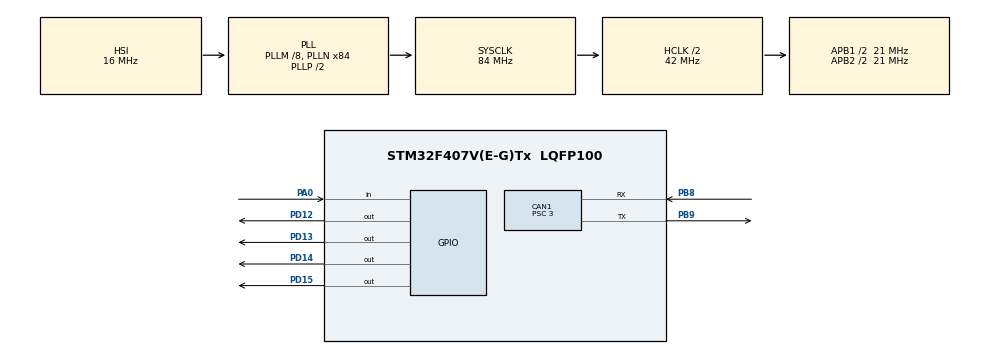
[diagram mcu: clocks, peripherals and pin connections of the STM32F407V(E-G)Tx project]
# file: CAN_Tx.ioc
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CAN1.ABOM=ENABLE
CAN1.AWUM=ENABLE
CAN1.BS1=CAN_BS1_11TQ
CAN1.BS2=CAN_BS2_2TQ
CAN1.CalculateBaudRate=500000
CAN1.CalculateTimeBit=2000
CAN1.CalculateTimeQuantum=142.85714285714286
CAN1.NART=ENABLE
CAN1.Prescaler=3
CAN1.TXFP=ENABLE
Mcu.Family=STM32F4
Mcu.Name=STM32F407V(E-G)Tx
Mcu.Package=LQFP100
NVIC.CAN1_RX0_IRQn=true\:0\:0\:false\:false\:true\:true\:true\:true
NVIC.CAN1_TX_IRQn=true\:0\:0\:false\:false\:true\:true\:true\:true
NVIC.PriorityGroup=NVIC_PRIORITYGROUP_0
PA0-WKUP.Signal=GPIO_Input
PB8.Mode=CAN_Activate
PB8.Signal=CAN1_RX
PB9.Mode=CAN_Activate
PB9.Signal=CAN1_TX
PD12.Signal=GPIO_Output
PD13.Signal=GPIO_Output
PD14.Signal=GPIO_Output
PD15.Signal=GPIO_Output
PH0-OSC_IN.Mode=HSE-External-Oscillator
PH0-OSC_IN.Signal=RCC_OSC_IN
PH1-OSC_OUT.Mode=HSE-External-Oscillator
PH1-OSC_OUT.Signal=RCC_OSC_OUT
ProjectManager.HeapSize=0x200
ProjectManager.StackSize=0x400
ProjectManager.TargetToolchain=STM32CubeIDE
RCC.48MHZClocksFreq_Value=24000000
RCC.AHBCLKDivider=RCC_SYSCLK_DIV2
RCC.AHBFreq_Value=42000000
RCC.APB1CLKDivider=RCC_HCLK_DIV2
RCC.APB1Freq_Value=21000000
RCC.APB1TimFreq_Value=42000000
RCC.APB2CLKDivider=RCC_HCLK_DIV2
RCC.APB2Freq_Value=21000000
RCC.APB2TimFreq_Value=42000000
RCC.CortexFreq_Value=42000000
RCC.HCLKFreq_Value=42000000
RCC.HSE_VALUE=8000000
RCC.HSI_VALUE=16000000
RCC.LSE_VALUE=32768
RCC.PLLM=8
RCC.PLLN=84
RCC.PLLQ=7
RCC.SYSCLKFreq_VALUE=84000000
RCC.SYSCLKSource=RCC_SYSCLKSOURCE_PLLCLK
RCC.VCOOutputFreq_Value=168000000
board=STM32F407G-DISC1

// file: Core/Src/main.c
/* USER CODE BEGIN Header */
/**
  ******************************************************************************
  * @file           : main.c
  * @brief          : Main program body
  ******************************************************************************
  * @attention
  *
  * Copyright (c) 2025 STMicroelectronics.
  * All rights reserved.
  *
  * This software is licensed under terms that can be found in the LICENSE file
  * in the root directory of this software component.
  * If no LICENSE file comes with this software, it is provided AS-IS.
  *
  ******************************************************************************
  */
/* USER CODE END Header */
#include "main.h"

/* USER CODE BEGIN Includes */
#include<string.h>
/* USER CODE END Includes */

CAN_HandleTypeDef hcan1;

/* USER CODE BEGIN PV */
CAN_TxHeaderTypeDef TxHeader;
uint8_t TxData[8];
uint32_t TxMailBox;

/* USER CODE END PV */

void SystemClock_Config(void);
static void MX_GPIO_Init(void);
static void MX_CAN1_Init(void);

int main(void)
{

  /* MCU Configuration--------------------------------------------------------*/

  /* Reset of all peripherals, Initializes the Flash interface and the Systick. */
  HAL_Init();

  /* Configure the system clock */
  SystemClock_Config();

  /* Initialize all configured peripherals */
  MX_GPIO_Init();
  MX_CAN1_Init();
  /* USER CODE BEGIN 2 */
  HAL_CAN_Start(&hcan1);
  //  HAL_CAN_ActivateNotification(&hcan1, CAN_IT_RX_FIFO0_MSG_PENDING);

  TxHeader.StdId = 0x0A9;
  TxHeader.ExtId = 0;
  TxHeader.IDE = CAN_ID_STD;
  TxHeader.RTR = CAN_RTR_DATA;
  //TxHeader.DLC = 4;
  TxHeader.TransmitGlobalTime = DISABLE;

 // strcpy((char *) TxData, "DATA");

  /* USER CODE END 2 */

  /* Infinite loop */
  while (1)
  {

    /* USER CODE BEGIN 3 */
	  /* USER CODE BEGIN 3 */

	    // Check the switch on PA0
	    // NOTE: This assumes your switch connects PA0 to 3.3V (HIGH)
	    uint16_t switch_read = HAL_GPIO_ReadPin(GPIOA, GPIO_PIN_0);

	    if(switch_read == GPIO_PIN_SET)
	    {
	      // Configure the CAN message
	      TxHeader.DLC = 1; // Change DLC to 1
	      TxHeader.RTR = CAN_RTR_DATA;
	      TxHeader.IDE = CAN_ID_STD;
	      TxHeader.StdId = 0x0A9;
	      TxData[0] = 1; // We will send the number '1'

	      // Toggle the LED (your first code used PD12, so we use that)
	      HAL_GPIO_TogglePin(GPIOD, GPIO_PIN_12);

	      // Send the message
	      if(HAL_CAN_AddTxMessage(&hcan1, &TxHeader, TxData, &TxMailBox) != HAL_OK)
	      {
	         Error_Handler();
	      }
	    }

	    // Wait 1 second before checking the switch again
	    HAL_Delay(1000);

	    /* USER CODE END 3 */
  }
  /* USER CODE END 3 */
}

void SystemClock_Config(void)
{
  RCC_OscInitTypeDef RCC_OscInitStruct = {0};
  RCC_ClkInitTypeDef RCC_ClkInitStruct = {0};

  /** Configure the main internal regulator output voltage
  */
  __HAL_RCC_PWR_CLK_ENABLE();
  __HAL_PWR_VOLTAGESCALING_CONFIG(PWR_REGULATOR_VOLTAGE_SCALE1);

  /** Initializes the RCC Oscillators according to the specified parameters
  * in the RCC_OscInitTypeDef structure.
  */
  RCC_OscInitStruct.OscillatorType = RCC_OSCILLATORTYPE_HSI;
  RCC_OscInitStruct.HSIState = RCC_HSI_ON;
  RCC_OscInitStruct.HSICalibrationValue = RCC_HSICALIBRATION_DEFAULT;
  RCC_OscInitStruct.PLL.PLLState = RCC_PLL_ON;
  RCC_OscInitStruct.PLL.PLLSource = RCC_PLLSOURCE_HSI;
  RCC_OscInitStruct.PLL.PLLM = 8;
  RCC_OscInitStruct.PLL.PLLN = 84;
  RCC_OscInitStruct.PLL.PLLP = RCC_PLLP_DIV2;
  RCC_OscInitStruct.PLL.PLLQ = 7;
  if (HAL_RCC_OscConfig(&RCC_OscInitStruct) != HAL_OK)
  {
    Error_Handler();
  }

  /** Initializes the CPU, AHB and APB buses clocks
  */
  RCC_ClkInitStruct.ClockType = RCC_CLOCKTYPE_HCLK|RCC_CLOCKTYPE_SYSCLK
                              |RCC_CLOCKTYPE_PCLK1|RCC_CLOCKTYPE_PCLK2;
  RCC_ClkInitStruct.SYSCLKSource = RCC_SYSCLKSOURCE_PLLCLK;
  RCC_ClkInitStruct.AHBCLKDivider = RCC_SYSCLK_DIV2;
  RCC_ClkInitStruct.APB1CLKDivider = RCC_HCLK_DIV2;
  RCC_ClkInitStruct.APB2CLKDivider = RCC_HCLK_DIV2;

  if (HAL_RCC_ClockConfig(&RCC_ClkInitStruct, FLASH_LATENCY_1) != HAL_OK)
  {
    Error_Handler();
  }
}

static void MX_CAN1_Init(void)
{

  hcan1.Instance = CAN1;
  hcan1.Init.Prescaler = 3;
  hcan1.Init.Mode = CAN_MODE_NORMAL;
  hcan1.Init.SyncJumpWidth = CAN_SJW_1TQ;
  hcan1.Init.TimeSeg1 = CAN_BS1_11TQ;
  hcan1.Init.TimeSeg2 = CAN_BS2_2TQ;
  hcan1.Init.TimeTriggeredMode = DISABLE;
  hcan1.Init.AutoBusOff = ENABLE;
  hcan1.Init.AutoWakeUp = ENABLE;
  hcan1.Init.AutoRetransmission = ENABLE;
  hcan1.Init.ReceiveFifoLocked = DISABLE;
  hcan1.Init.TransmitFifoPriority = ENABLE;
  if (HAL_CAN_Init(&hcan1) != HAL_OK)
  {
    Error_Handler();
  }
  /* USER CODE BEGIN CAN1_Init 2 */

  // Acceptance Filter
  CAN_FilterTypeDef filterConfig;
  filterConfig.FilterActivation = ENABLE;
  filterConfig.FilterBank = 0;
  filterConfig.FilterFIFOAssignment = CAN_FILTER_FIFO0;
  filterConfig.FilterIdHigh = 0x0000;
  filterConfig.FilterIdLow = 0x0000;
  filterConfig.FilterMaskIdHigh = 0x0000;
  filterConfig.FilterMaskIdLow = 0x0000;
  filterConfig.FilterMode = CAN_FILTERMODE_IDMASK;
  filterConfig.FilterScale = CAN_FILTERSCALE_32BIT;
  HAL_CAN_ConfigFilter(&hcan1, &filterConfig);

  /* USER CODE END CAN1_Init 2 */

}

static void MX_GPIO_Init(void)
{
  GPIO_InitTypeDef GPIO_InitStruct = {0};

  /* GPIO Ports Clock Enable */
  __HAL_RCC_GPIOH_CLK_ENABLE();
  __HAL_RCC_GPIOA_CLK_ENABLE();
  __HAL_RCC_GPIOD_CLK_ENABLE();
  __HAL_RCC_GPIOB_CLK_ENABLE();

  /*Configure GPIO pin Output Level */
  HAL_GPIO_WritePin(GPIOD, GPIO_PIN_12|GPIO_PIN_13|GPIO_PIN_14|GPIO_PIN_15, GPIO_PIN_RESET);

  /*Configure GPIO pin : PA0 */
  GPIO_InitStruct.Pin = GPIO_PIN_0;
  GPIO_InitStruct.Mode = GPIO_MODE_INPUT;
  GPIO_InitStruct.Pull = GPIO_PULLDOWN;
  HAL_GPIO_Init(GPIOA, &GPIO_InitStruct);

  /*Configure GPIO pins : PD12 PD13 PD14 PD15 */
  GPIO_InitStruct.Pin = GPIO_PIN_12|GPIO_PIN_13|GPIO_PIN_14|GPIO_PIN_15;
  GPIO_InitStruct.Mode = GPIO_MODE_OUTPUT_PP;
  GPIO_InitStruct.Pull = GPIO_NOPULL;
  GPIO_InitStruct.Speed = GPIO_SPEED_FREQ_LOW;
  HAL_GPIO_Init(GPIOD, &GPIO_InitStruct);

}

void Error_Handler(void)
{
  __disable_irq();
  while (1)
  {
  }
}
